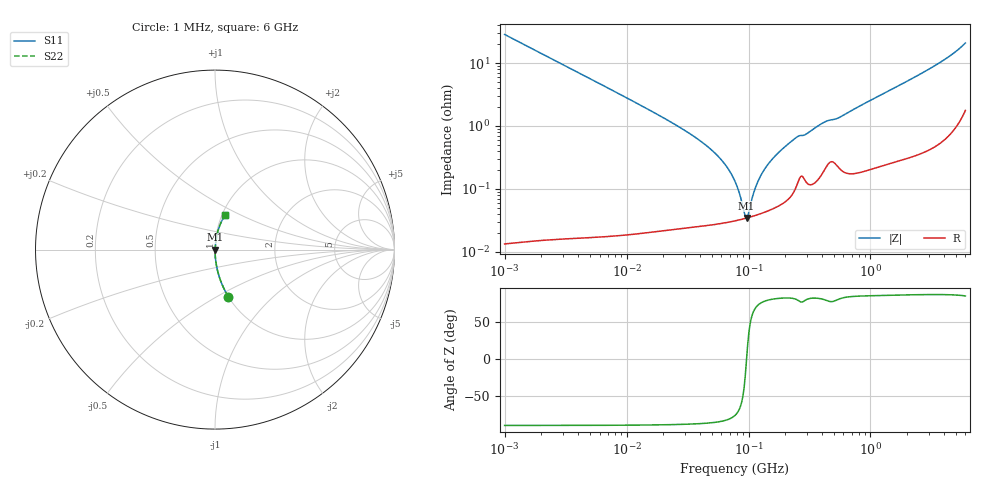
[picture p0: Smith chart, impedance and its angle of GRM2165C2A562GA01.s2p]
!Murata Part Number: GRM2165C2A562GA01
!These Parameters are Measured in Series Mode Connection
!Data Generated on Mar 30, 2021
!  o--ll--o
!Port1  Port2
!  o------o
!Operation Temp=25[degC], DC Bias Voltage=0[V]
!Freq. Start=1000[kHz] Stop=6[GHz] 401[Steps]
# Hz S RI R 50
!Freq.(Hz) S11(Real) S11(Imag) S21(Real) S21(Imag) S12(Real) S12(Imag) S22(Real) S22(Imag)
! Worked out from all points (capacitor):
!   401 points, 1 MHz to 6 GHz, reference 50 ohm
!   read as one part in series: C = 5.6 nF near 1.044 MHz
!   lowest |Z| = 34.6 mohm at 96.28 MHz (marker M1)
!   series resonance near 96.37 MHz, so ESL is about 490 pH
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1000000  0.0749 -0.2629  0.9251 0.2629  0.9251 0.2629  0.0749 -0.2629
2005636  0.0198 -0.1388  0.9802 0.1388  0.9802 0.1388  0.0198 -0.1388
4293785  0.00451 -0.0657  0.9955 0.0657  0.9955 0.0657  0.00451 -0.0657
1.843659e7  0.000432 -0.0148  0.9996 0.0148  0.9996 0.0148  0.000432 -0.0148
3.316698e7  0.0003 -0.00752  0.9997 0.00752  0.9997 0.00752  0.0003 -0.00752
4.905945e7  0.000286 -0.00426  0.9997 0.00426  0.9997 0.00426  0.000286 -0.00426
6.368941e7  0.000296 -0.00249  0.9997 0.00249  0.9997 0.00249  0.000296 -0.00249
7.745967e7  0.000314 -0.00129  0.9997 0.00129  0.9997 0.00129  0.000314 -0.00129
8.450008e7  0.000325 -0.00077  0.9997 0.00077  0.9997 0.00077  0.000325 -0.00077
9.218041e7  0.000338 -0.00026  0.9997 0.00026  0.9997 0.00026  0.000338 -0.00026
9.627852e7  0.000346 -5.6e-06  0.9997 5.6e-06  0.9997 5.6e-06  0.000346 -5.6e-06
1.005588e8  0.000354 0.000248  0.9996 -0.000248  0.9996 -0.000248  0.000354 0.000248
1.096987e8  0.000373 0.000758  0.9996 -0.000758  0.9996 -0.000758  0.000373 0.000758
1.196694e8  0.000395 0.00127  0.9996 -0.00127  0.9996 -0.00127  0.000395 0.00127
1.455431e8  0.000458 0.00247  0.9995 -0.00247  0.9995 -0.00247  0.000458 0.00247
1.770109e8  0.000554 0.00378  0.9994 -0.00378  0.9994 -0.00378  0.000554 0.00378
2.348496e8  0.000931 0.00606  0.9991 -0.00606  0.9991 -0.00606  0.000931 0.00606
3.325952e8  0.00126 0.0086  0.9987 -0.0086  0.9987 -0.0086  0.00126 0.0086
4.133993e8  0.00203 0.0112  0.998 -0.0112  0.998 -0.0112  0.00203 0.0112
1.428092e9  0.00384 0.0363  0.9962 -0.0363  0.9962 -0.0363  0.00384 0.0363
3.5601e9  0.0141 0.0951  0.9859 -0.0951  0.9859 -0.0951  0.0141 0.0951
6e9  0.0567 0.1925  0.9433 -0.1925  0.9433 -0.1925  0.0567 0.1925
